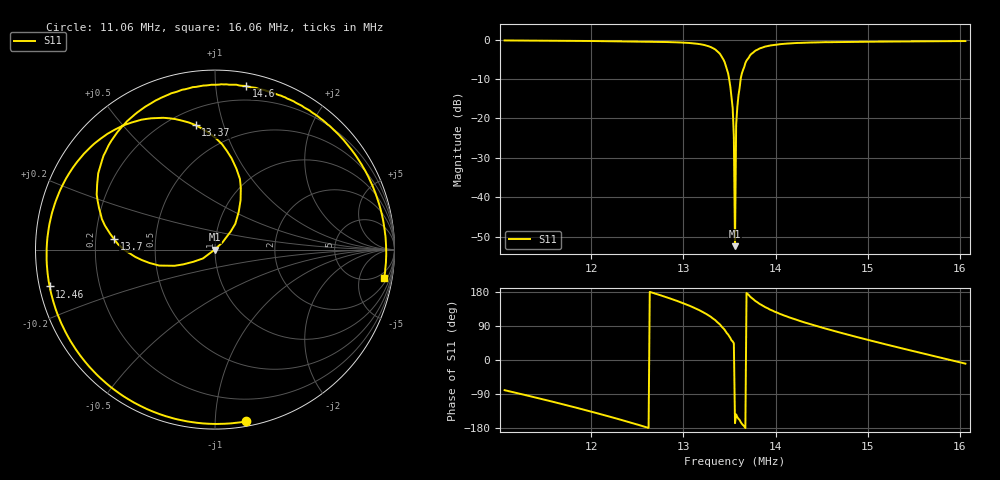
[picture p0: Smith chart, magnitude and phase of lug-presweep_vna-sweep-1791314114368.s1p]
! TC-POWER VNA auto-tune export
# Hz S RI R 50
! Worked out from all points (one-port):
!   401 points, 11.06 MHz to 16.06 MHz, reference 50 ohm
!   lowest |S11| = -52.4 dB at 13.56 MHz (marker M1), VSWR 1.00, Z = 49.8 - j0.0552 ohm
!   |S11| at or under -10 dB: 13.5 MHz to 13.62 MHz (125.4 kHz wide, 0.925 % of centre)
!   S11 on the Smith chart (normalised r, x): 11.06 MHz: 0.03, -1.20; 12.46 MHz: 0.03, -0.11; 13.37 MHz: 0.30, +0.81; 13.7 MHz: 0.28, +0.05; 14.6 MHz: 0.09, +1.21; 16.06 MHz: 3, -11
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1.106e7  0.1742 -0.9573
1.1385e7  -0.1408 -0.9596
1.1685e7  -0.4289 -0.8641
1.231e7  -0.8729 -0.3713
1.246e7  -0.9212 -0.2052
1.271e7  -0.9297 0.0972
1.2935e7  -0.838 0.3807
1.31725e7  -0.5804 0.6559
1.3285e7  -0.3543 0.7316
1.33725e7  -0.1075 0.6932
1.3435e7  0.065 0.5517
1.3485e7  0.1439 0.3439
1.35225e7  0.1131 0.1437
1.3535e7  0.088 0.1015
1.356e7  -0.00233 -0.000554
1.3585e7  -0.1202 -0.0677
1.35975e7  -0.1769 -0.0823
1.361e7  -0.2256 -0.0901
1.36475e7  -0.4079 -0.0581
1.36975e7  -0.5628 0.059
1.376e7  -0.6463 0.2327
1.386e7  -0.6369 0.4738
1.401e7  -0.5018 0.7018
1.4185e7  -0.3012 0.8455
1.45975e7  0.1745 0.9115
1.481e7  0.3916 0.8479
1.5435e7  0.8425 0.4289
1.606e7  0.9425 -0.1598
